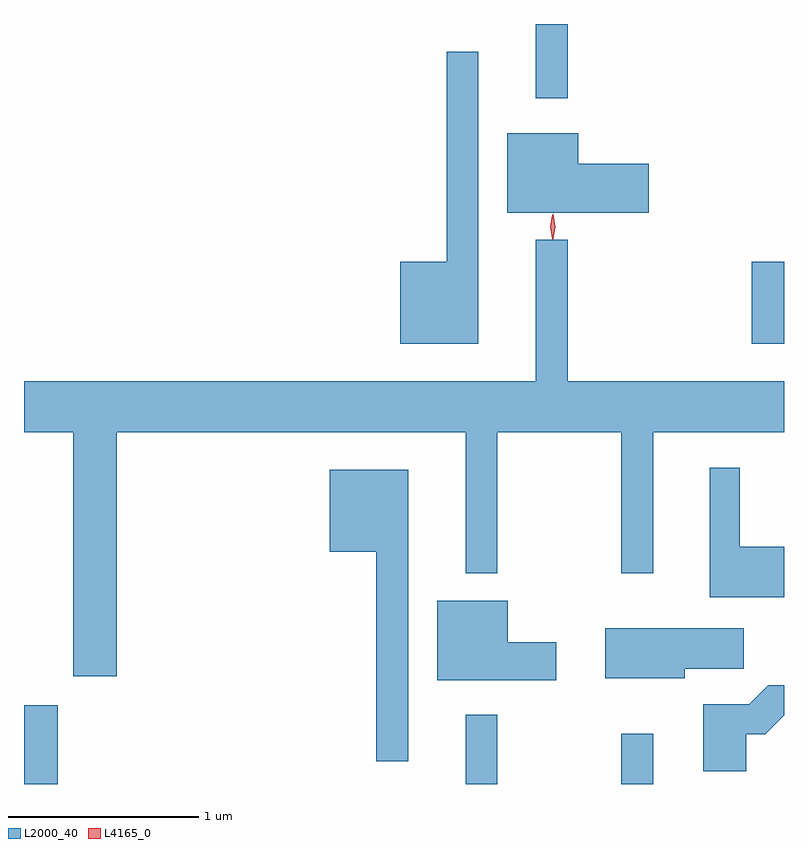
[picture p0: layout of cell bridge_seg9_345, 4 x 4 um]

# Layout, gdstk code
import gdstk
lib = gdstk.Library(unit=1e-6, precision=1e-09)
def R(c, l, rs):  # rectangles x0, y0, x1, y1
    for r in rs: c.add(gdstk.rectangle(r[:2], r[2:], *l))
def P(c, l, *ps):  # polygons
    for p in ps: c.add(gdstk.Polygon(p, *l))
L2000_40 = (2000, 40)
L4165_0 = (4165, 0)

bridge_seg9_345 = lib.new_cell('bridge_seg9_345')
R(bridge_seg9_345, L2000_40, [(762.027,1978.864,762.204,1979.279), (764.351,1978.864,764.519,1979.228), (765.171,1978.864,765.339,1979.128), (765.856,1981.181,766.027,1981.614), (764.721,1982.473,764.889,1982.864)])
P(bridge_seg9_345, L2000_40, [(764.419,1982.718),(764.251,1982.718),(764.251,1981.614),(764.006,1981.614),(764.006,1981.181),(764.419,1981.181)],
  [(765.314,1982.129),(764.944,1982.129),(764.944,1982.289),(764.571,1982.289),(764.571,1981.871),(765.314,1981.871)],
  [(762.514,1980.716),(764.351,1980.716),(764.351,1979.973),(764.519,1979.973),(764.519,1980.716),(765.171,1980.716),(765.171,1979.973),(765.339,1979.973),(765.339,1980.716),(766.027,1980.716),(766.027,1980.984),(764.889,1980.984),(764.889,1981.728),(764.721,1981.728),(764.721,1980.984),(762.027,1980.984),(762.027,1980.716),(762.286,1980.716),(762.286,1979.431),(762.514,1979.431)],
  [(766.027,1980.114),(765.794,1980.114),(765.794,1980.528),(765.636,1980.528),(765.636,1979.846),(766.027,1979.846)],
  [(764.049,1980.519),(763.636,1980.519),(763.636,1980.086),(763.881,1980.086),(763.881,1978.983),(764.049,1978.983)],
  [(764.829,1979.609),(764.574,1979.609),(764.574,1979.829),(764.201,1979.829),(764.201,1979.411),(764.829,1979.411)],
  [(765.504,1979.471),(765.814,1979.471),(765.814,1979.684),(765.086,1979.684),(765.086,1979.421),(765.504,1979.421)],
  [(765.829,1979.126),(765.927,1979.126),(766.027,1979.226),(766.027,1979.384),(765.944,1979.384),(765.844,1979.284),(765.601,1979.284),(765.601,1978.931),(765.829,1978.931)])
P(bridge_seg9_345, L4165_0, [(764.811,1981.73),(764.802,1981.798),(764.812,1981.866),(764.813,1981.866),(764.813,1981.866),(764.822,1981.798),(764.812,1981.73),(764.812,1981.73)],
  [(764.808,1981.733),(764.808,1981.733),(764.798,1981.796),(764.808,1981.859),(764.808,1981.86),(764.809,1981.859),(764.818,1981.796),(764.809,1981.733)])

lib.write_gds('bridge_seg9_345.gds')
